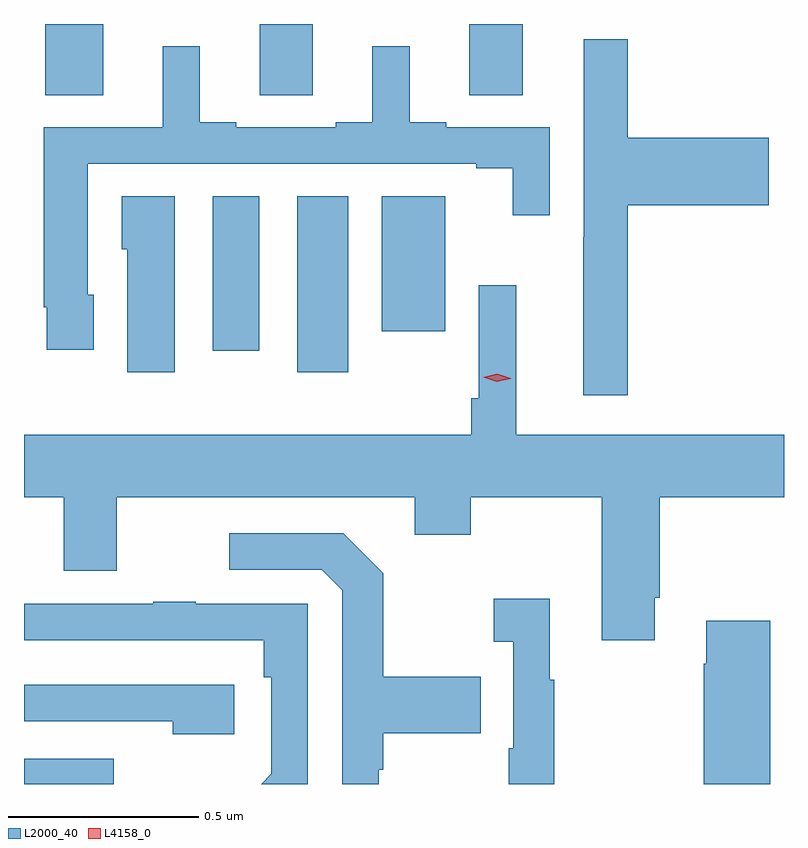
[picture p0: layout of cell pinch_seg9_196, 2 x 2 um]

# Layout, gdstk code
import gdstk
lib = gdstk.Library(unit=1e-6, precision=1e-09)
def R(c, l, rs):  # rectangles x0, y0, x1, y1
    for r in rs: c.add(gdstk.rectangle(r[:2], r[2:], *l))
def P(c, l, *ps):  # polygons
    for p in ps: c.add(gdstk.Polygon(p, *l))
L2000_40 = (2000, 40)
L4158_0 = (4158, 0)

pinch_seg9_196 = lib.new_cell('pinch_seg9_196')
R(pinch_seg9_196, L2000_40, [(636.837,1214.313,637.073,1214.379), (637.556,1215.396,637.69,1215.86), (637.334,1215.453,637.456,1215.86), (637.778,1215.504,637.945,1215.86), (636.893,1216.126,637.045,1216.313), (637.457,1216.126,637.597,1216.313), (638.009,1216.126,638.149,1216.313)])
P(pinch_seg9_196, L2000_40, [(638.426,1215.836),(638.797,1215.836),(638.797,1216.014),(638.426,1216.014),(638.426,1216.273),(638.31,1216.273),(638.31,1215.752),(638.309,1215.752),(638.309,1215.336),(638.426,1215.336)],
  [(637.021,1215.6),(637.005,1215.6),(637.005,1215.945),(638.027,1215.945),(638.027,1215.933),(638.123,1215.933),(638.123,1215.81),(638.22,1215.81),(638.22,1216.041),(637.948,1216.041),(637.948,1216.054),(637.852,1216.054),(637.852,1216.255),(637.754,1216.255),(637.754,1216.054),(637.658,1216.054),(637.658,1216.041),(637.396,1216.041),(637.396,1216.054),(637.3,1216.054),(637.3,1216.255),(637.202,1216.255),(637.202,1216.041),(636.889,1216.041),(636.889,1215.568),(636.897,1215.568),(636.897,1215.456),(637.021,1215.456)],
  [(637.234,1215.86),(637.094,1215.86),(637.094,1215.72),(637.109,1215.72),(637.109,1215.396),(637.234,1215.396)],
  [(638.497,1214.803),(638.51,1214.803),(638.51,1215.068),(638.837,1215.068),(638.837,1215.232),(638.132,1215.232),(638.132,1215.625),(638.034,1215.625),(638.034,1215.328),(638.014,1215.328),(638.014,1215.232),(636.837,1215.232),(636.837,1215.068),(636.941,1215.068),(636.941,1214.874),(637.081,1214.874),(637.081,1215.068),(637.865,1215.068),(637.865,1214.969),(638.013,1214.969),(638.013,1215.068),(638.357,1215.068),(638.357,1214.691),(638.497,1214.691)],
  [(637.77,1214.351),(637.783,1214.351),(637.783,1214.447),(638.039,1214.447),(638.039,1214.595),(637.783,1214.595),(637.783,1214.867),(637.677,1214.973),(637.377,1214.973),(637.377,1214.877),(637.62,1214.877),(637.674,1214.823),(637.674,1214.313),(637.77,1214.313)],
  [(638.233,1214.587),(638.221,1214.587),(638.221,1214.8),(638.073,1214.8),(638.073,1214.687),(638.124,1214.687),(638.124,1214.407),(638.112,1214.407),(638.112,1214.313),(638.233,1214.313)],
  [(637.584,1214.787),(637.289,1214.787),(637.289,1214.792),(637.177,1214.792),(637.177,1214.787),(636.837,1214.787),(636.837,1214.691),(637.468,1214.691),(637.468,1214.594),(637.488,1214.594),(637.488,1214.34),(637.461,1214.313),(637.584,1214.313)],
  [(638.801,1214.743),(638.633,1214.743),(638.633,1214.63),(638.626,1214.63),(638.626,1214.313),(638.801,1214.313)],
  [(637.39,1214.574),(636.837,1214.574),(636.837,1214.478),(637.229,1214.478),(637.229,1214.444),(637.39,1214.444)])
P(pinch_seg9_196, L4158_0, [(638.081,1215.372),(638.046,1215.383),(638.046,1215.384),(638.046,1215.384),(638.082,1215.392),(638.118,1215.381),(638.118,1215.38),(638.118,1215.38)])

lib.write_gds('pinch_seg9_196.gds')
